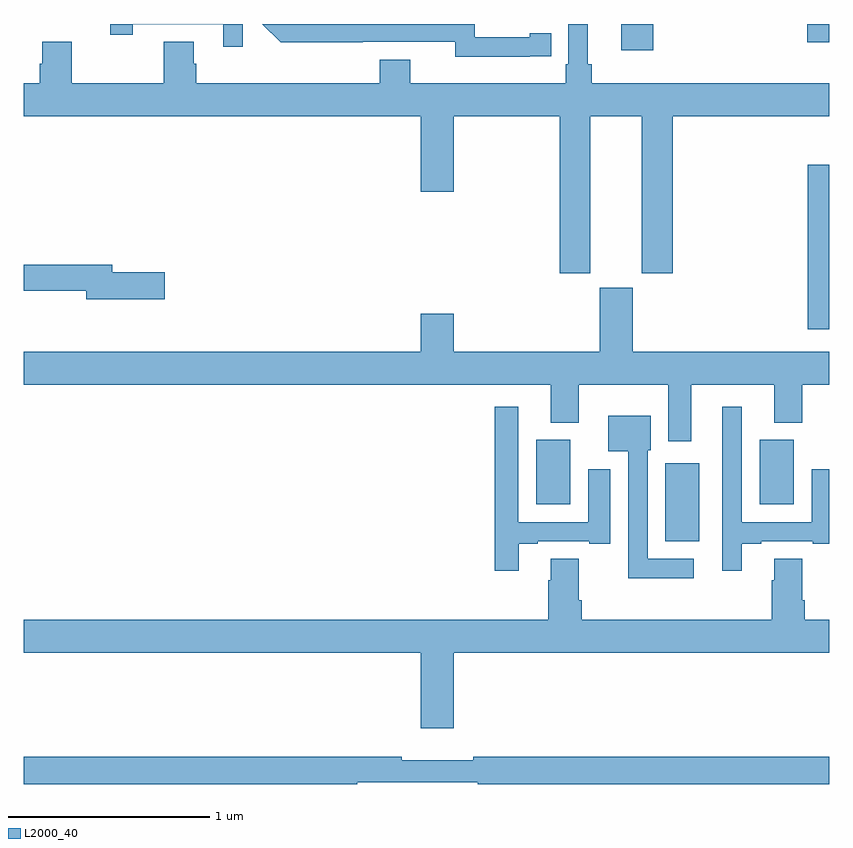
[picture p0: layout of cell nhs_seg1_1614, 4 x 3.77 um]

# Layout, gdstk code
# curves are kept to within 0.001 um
import gdstk
lib = gdstk.Library(unit=1e-6, precision=1e-09)
def R(c, l, rs):  # rectangles x0, y0, x1, y1
    for r in rs: c.add(gdstk.rectangle(r[:2], r[2:], *l))
def P(c, l, *ps):  # polygons
    for p in ps: c.add(gdstk.Polygon(p, *l))
L2000_40 = (2000, 40)

nhs_seg1_1614 = lib.new_cell('nhs_seg1_1614')
R(nhs_seg1_1614, L2000_40, [(202.187,541.631,202.354,542.017), (201.545,541.814,201.715,542.134), (202.655,541.814,202.825,542.134), (202.894,542.682,203,543.499), (201.968,544.068,202.127,544.199), (202.89,544.109,203,544.199), (199,544.197,199.344,544.199)])
P(nhs_seg1_1614, L2000_40, [(200.088,544.199),(199.429,544.199),(199.429,544.146),(199.54,544.146),(199.54,544.197),(199.991,544.197),(199.991,544.086),(200.088,544.086)],
  [(201.512,544.038),(201.62,544.038),(201.62,544.154),(201.512,544.154),(201.512,544.134),(201.24,544.134),(201.24,544.199),(200.185,544.199),(200.276,544.109),(201.144,544.11),(201.144,544.037)],
  [(201.814,543.74),(202.07,543.74),(202.07,542.961),(202.223,542.961),(202.223,543.74),(203,543.74),(203,543.904),(201.821,543.904),(201.821,544),(201.802,544),(201.802,544.199),(201.705,544.199),(201.705,544),(201.692,544),(201.692,543.904),(200.92,543.904),(200.92,544.021),(200.768,544.021),(200.768,543.904),(199.856,543.904),(199.856,544.002),(199.843,544.002),(199.843,544.112),(199.696,544.112),(199.696,543.904),(199.239,543.904),(199.239,544.112),(199.091,544.112),(199.091,544.002),(199.079,544.002),(199.079,543.904),(199,543.904),(199,543.74),(200.972,543.74),(200.972,543.366),(201.136,543.366),(201.136,543.74),(201.662,543.74),(201.662,542.961),(201.814,542.961)],
  [(199.699,542.966),(199.438,542.966),(199.438,543.002),(199,543.002),(199,542.874),(199.31,542.874),(199.31,542.831),(199.699,542.831)],
  [(202.315,542.408),(202.727,542.408),(202.727,542.219),(202.867,542.219),(202.867,542.408),(203,542.408),(203,542.572),(202.024,542.572),(202.024,542.889),(201.86,542.889),(201.86,542.572),(201.136,542.572),(201.136,542.761),(200.972,542.761),(200.972,542.572),(199,542.572),(199,542.408),(201.617,542.408),(201.617,542.219),(201.757,542.219),(201.757,542.408),(202.202,542.408),(202.202,542.127),(202.315,542.127)],
  [(201.457,541.617),(201.553,541.617),(201.553,541.629),(201.809,541.629),(201.809,541.617),(201.913,541.617),(201.913,541.987),(201.803,541.987),(201.803,541.725),(201.456,541.725),(201.456,542.299),(201.34,542.299),(201.34,541.482),(201.457,541.482)],
  [(202.567,541.617),(202.663,541.617),(202.663,541.629),(202.919,541.629),(202.919,541.617),(203,541.617),(203,541.987),(202.913,541.987),(202.913,541.725),(202.566,541.725),(202.566,542.299),(202.47,542.299),(202.47,541.482),(202.567,541.482)],
  [(202.327,541.542),(202.098,541.542),(202.098,542.082),(202.114,542.082),(202.114,542.254),(201.902,542.254),(201.902,542.078),(202.002,542.078),(202.002,541.445),(202.327,541.445)],
  [(201.136,541.076),(203,541.076),(203,541.24),(202.88,541.24),(202.88,541.336),(202.867,541.336),(202.867,541.544),(202.727,541.544),(202.727,541.436),(202.715,541.436),(202.715,541.24),(201.77,541.24),(201.77,541.336),(201.757,541.336),(201.757,541.544),(201.617,541.544),(201.617,541.436),(201.605,541.436),(201.605,541.24),(199,541.24),(199,541.076),(200.972,541.076),(200.972,540.702),(201.136,540.702)],
  [(200.655,540.432),(201.255,540.432),(201.255,540.424),(203,540.424),(203,540.56),(201.232,540.56),(201.232,540.541),(200.876,540.541),(200.876,540.56),(199,540.56),(199,540.424),(200.655,540.424)])

lib.write_gds('nhs_seg1_1614.gds')
